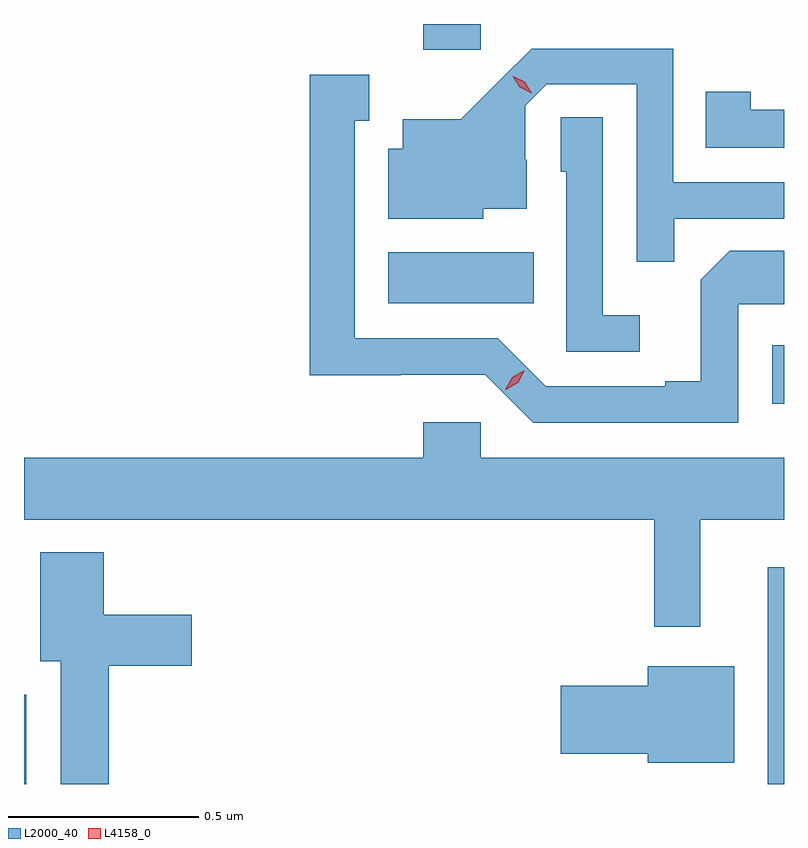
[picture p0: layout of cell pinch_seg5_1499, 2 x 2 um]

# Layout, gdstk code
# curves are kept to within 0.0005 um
import gdstk
lib = gdstk.Library(unit=1e-6, precision=1e-09)
def R(c, l, rs):  # rectangles x0, y0, x1, y1
    for r in rs: c.add(gdstk.rectangle(r[:2], r[2:], *l))
def P(c, l, *ps):  # polygons
    for p in ps: c.add(gdstk.Polygon(p, *l))
L2000_40 = (2000, 40)
L4158_0 = (4158, 0)

pinch_seg5_1499 = lib.new_cell('pinch_seg5_1499')
R(pinch_seg5_1499, L2000_40, [(145.738,890.697,145.744,890.932), (147.695,890.697,147.738,891.268), (147.707,891.698,147.738,891.852), (146.696,891.962,147.08,892.096), (146.789,892.629,146.94,892.697)])
P(pinch_seg5_1499, L2000_40, [(147.449,892.185),(147.738,892.185),(147.738,892.281),(147.447,892.281),(147.447,892.632),(147.074,892.632),(146.887,892.447),(146.735,892.447),(146.735,892.369),(146.696,892.369),(146.696,892.184),(146.946,892.184),(146.946,892.211),(147.061,892.211),(147.061,892.34),(147.057,892.34),(147.057,892.482),(147.114,892.539),(147.351,892.539),(147.351,892.072),(147.449,892.072)],
  [(147.618,891.96),(147.738,891.96),(147.738,892.1),(147.595,892.1),(147.519,892.024),(147.519,891.757),(147.425,891.757),(147.425,891.744),(147.111,891.744),(146.985,891.87),(146.608,891.87),(146.608,892.443),(146.647,892.443),(146.647,892.564),(146.49,892.564),(146.49,891.773),(146.73,891.773),(146.73,891.774),(146.952,891.774),(147.078,891.648),(147.618,891.648)],
  [(147.738,892.472),(147.651,892.472),(147.651,892.519),(147.532,892.519),(147.532,892.371),(147.738,892.371)],
  [(147.358,891.931),(147.261,891.931),(147.261,892.451),(147.15,892.451),(147.15,892.308),(147.165,892.308),(147.165,891.834),(147.358,891.834)],
  [(147.517,891.392),(147.738,891.392),(147.738,891.556),(146.94,891.556),(146.94,891.649),(146.789,891.649),(146.789,891.556),(145.738,891.556),(145.738,891.392),(147.396,891.392),(147.396,891.111),(147.517,891.111)],
  [(145.961,891.008),(146.179,891.008),(146.179,891.142),(145.948,891.142),(145.948,891.307),(145.781,891.307),(145.781,891.02),(145.835,891.02),(145.835,890.697),(145.961,890.697)],
  [(147.607,891.007),(147.38,891.007),(147.38,890.955),(147.15,890.955),(147.15,890.777),(147.38,890.777),(147.38,890.753),(147.607,890.753)])
P(pinch_seg5_1499, L4158_0, [(147.074,892.515),(147.043,892.53),(147.024,892.559),(147.024,892.559),(147.025,892.559),(147.056,892.545),(147.074,892.515),(147.074,892.515)],
  [(147.005,891.735),(147.005,891.735),(147.023,891.767),(147.055,891.786),(147.055,891.786),(147.055,891.786),(147.038,891.753),(147.006,891.735)])

lib.write_gds('pinch_seg5_1499.gds')
